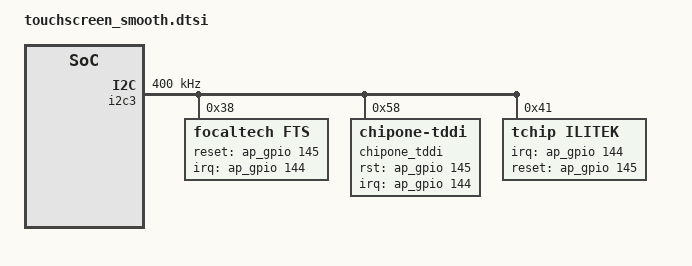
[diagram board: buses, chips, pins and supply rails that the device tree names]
&i2c3 {
	status = "okay";
	clock-frequency = <400000>;

	/delete-node/ adaptive-touchscreen@38;
	focaltech@38 {
		compatible = "focaltech,fts";
		reg = <0x38>;
		focaltech,reset-gpio = <&ap_gpio 145 0>;
		focaltech,irq-gpio = <&ap_gpio 144 0x2002>;
		/* focaltech,power-gpio = <&ap_gpio 62 0>; */
		focaltech,display-coords = <0 0 719 1559>;
		focaltech,max-touch-number = <10>;
	};

	chipone_tddi@58 {
		compatible = "chipone-tddi";
		reg = <0x58>;
		chipone,rst-gpio = <&ap_gpio 145 0>;
		chipone,irq-gpio = <&ap_gpio 144 0>;
		chipone,x-res = <719>;
		chipone,y-res = <1559>;
	};

	ilitek@41 {
		compatible = "tchip,ilitek";
		reg  = <0x41>;
		touch,irq-gpio = <&ap_gpio 144 0x2002>;
		touch,reset-gpio = <&ap_gpio 145 0>;
	};
};
